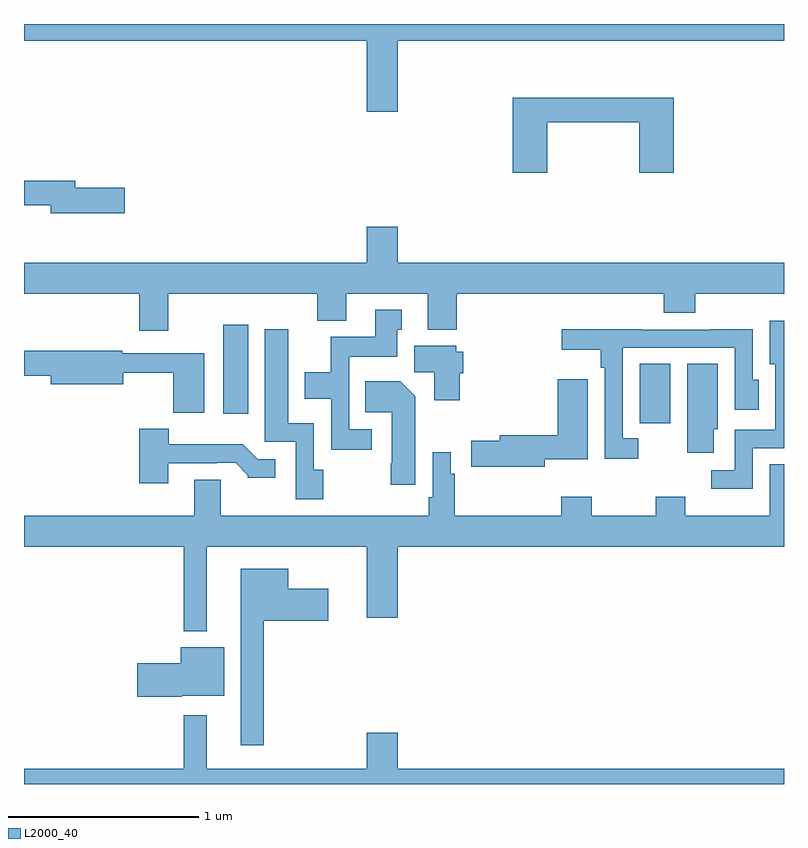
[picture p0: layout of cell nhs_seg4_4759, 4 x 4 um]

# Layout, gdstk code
import gdstk
lib = gdstk.Library(unit=1e-6, precision=1e-09)
def R(c, l, rs):  # rectangles x0, y0, x1, y1
    for r in rs: c.add(gdstk.rectangle(r[:2], r[2:], *l))
def P(c, l, *ps):  # polygons
    for p in ps: c.add(gdstk.Polygon(p, *l))
L2000_40 = (2000, 40)

nhs_seg4_4759 = lib.new_cell('nhs_seg4_4759')
R(nhs_seg4_4759, L2000_40, [(370.241,802.8,370.402,803.111), (368.048,802.848,368.179,803.317)])
P(nhs_seg4_4759, L2000_40, [(368.968,804.812),(371,804.812),(371,804.9),(367,804.9),(367,804.812),(368.804,804.812),(368.804,804.438),(368.968,804.438)],
  [(369.755,804.382),(370.238,804.382),(370.238,804.117),(370.421,804.117),(370.421,804.511),(369.572,804.511),(369.572,804.117),(369.755,804.117)],
  [(367.531,804.038),(367.27,804.038),(367.27,804.074),(367,804.074),(367,803.946),(367.142,803.946),(367.142,803.903),(367.531,803.903)],
  [(367.759,803.48),(368.543,803.48),(368.543,803.339),(368.695,803.339),(368.695,803.48),(369.125,803.48),(369.125,803.291),(369.278,803.291),(369.278,803.48),(370.367,803.48),(370.367,803.381),(370.532,803.381),(370.532,803.48),(371,803.48),(371,803.644),(368.968,803.644),(368.968,803.833),(368.804,803.833),(368.804,803.644),(367,803.644),(367,803.48),(367.607,803.48),(367.607,803.286),(367.759,803.286)],
  [(368.83,802.767),(368.712,802.767),(368.712,803.15),(368.965,803.15),(368.965,803.292),(368.989,803.292),(368.989,803.395),(368.849,803.395),(368.849,803.254),(368.614,803.254),(368.614,803.068),(368.477,803.068),(368.477,802.928),(368.616,802.928),(368.616,802.659),(368.83,802.659)],
  [(370.836,802.668),(371,802.668),(371,803.338),(370.925,803.338),(370.925,803.109),(370.955,803.109),(370.955,802.764),(370.74,802.764),(370.74,802.551),(370.617,802.551),(370.617,802.454),(370.836,802.454)],
  [(370.234,802.719),(370.152,802.719),(370.152,803.196),(370.74,803.196),(370.74,802.869),(370.867,802.869),(370.867,803.028),(370.836,803.028),(370.836,803.294),(370.615,803.294),(370.615,803.292),(370.249,803.292),(370.249,803.294),(369.831,803.294),(369.831,803.186),(370.036,803.186),(370.036,803.09),(370.056,803.09),(370.056,802.611),(370.234,802.611)],
  [(368.574,802.554),(368.526,802.554),(368.526,802.798),(368.392,802.798),(368.392,803.293),(368.267,803.293),(368.267,802.701),(368.43,802.701),(368.43,802.398),(368.574,802.398)],
  [(369.293,803.061),(369.311,803.061),(369.311,803.175),(369.276,803.175),(369.276,803.206),(369.053,803.206),(369.053,803.068),(369.158,803.068),(369.158,802.92),(369.293,802.92)],
  [(367.948,803.166),(367.518,803.166),(367.518,803.179),(367,803.179),(367,803.05),(367.142,803.05),(367.142,803.003),(367.522,803.003),(367.522,803.065),(367.786,803.065),(367.786,802.853),(367.948,802.853)],
  [(370.63,802.767),(370.651,802.767),(370.651,803.111),(370.49,803.111),(370.49,802.644),(370.63,802.644)],
  [(369.742,802.61),(369.967,802.61),(369.967,803.029),(369.809,803.029),(369.809,802.736),(369.503,802.736),(369.503,802.706),(369.354,802.706),(369.354,802.571),(369.742,802.571)],
  [(369.058,802.942),(368.98,803.02),(368.797,803.02),(368.797,802.856),(368.936,802.856),(368.936,802.588),(368.929,802.588),(368.929,802.476),(369.058,802.476)],
  [(367.759,802.587),(368.015,802.587),(368.015,802.59),(368.114,802.59),(368.178,802.526),(368.178,802.511),(368.323,802.511),(368.323,802.608),(368.229,802.608),(368.151,802.687),(367.762,802.687),(367.762,802.771),(367.607,802.771),(367.607,802.482),(367.759,802.482)],
  [(367.963,802.148),(368.804,802.148),(368.804,801.774),(368.968,801.774),(368.968,802.148),(371,802.148),(371,802.583),(370.925,802.583),(370.925,802.312),(370.479,802.312),(370.479,802.411),(370.324,802.411),(370.324,802.312),(369.987,802.312),(369.987,802.411),(369.827,802.411),(369.827,802.312),(369.266,802.312),(369.266,802.532),(369.246,802.532),(369.246,802.645),(369.15,802.645),(369.15,802.408),(369.13,802.408),(369.13,802.312),(368.035,802.312),(368.035,802.502),(367.895,802.502),(367.895,802.312),(367,802.312),(367,802.148),(367.842,802.148),(367.842,801.704),(367.963,801.704)],
  [(368.263,801.758),(368.602,801.758),(368.602,801.928),(368.392,801.928),(368.392,802.033),(368.141,802.033),(368.141,801.105),(368.263,801.105)],
  [(367.83,801.365),(368.053,801.365),(368.053,801.619),(367.826,801.619),(367.826,801.536),(367.596,801.536),(367.596,801.358),(367.83,801.358)],
  [(367,800.9),(371,800.9),(371,800.98),(368.968,800.98),(368.968,801.169),(368.804,801.169),(368.804,800.98),(367.963,800.98),(367.963,801.262),(367.842,801.262),(367.842,800.98),(367,800.98)])

lib.write_gds('nhs_seg4_4759.gds')
